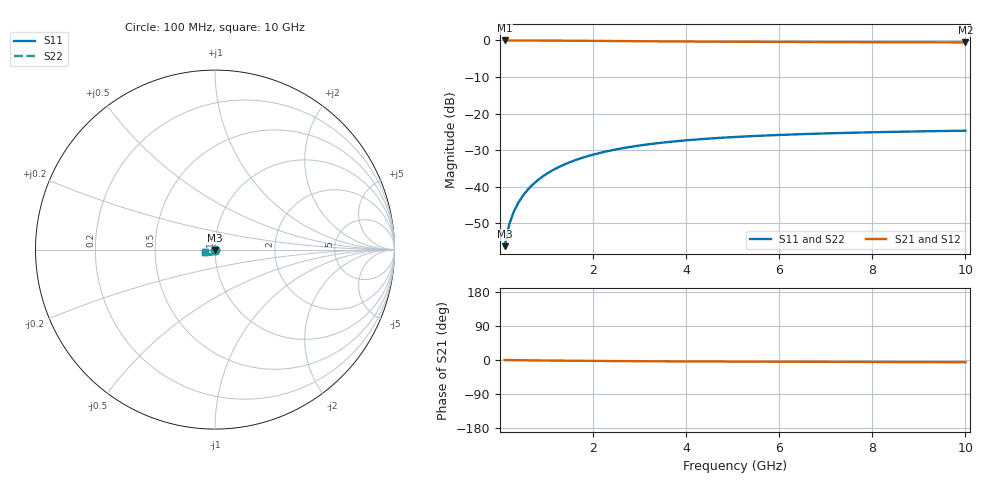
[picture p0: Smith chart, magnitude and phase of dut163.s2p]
! Touchstone file exported from HFSS 2024.1.0
!  File:  C:/UserFiles/LocalFiles/RDL_TSV_Batchsim/temp_TSV1_163_1779382542.aedt
!  Generated:  01:00:53 AM May 22, 2026
!  Design:  TSV1
!  Project:  temp_TSV1_163_1779382542
!  Setup:  Setup1
!  Solution:  Sweep
! Variables:
!  dtsv = 10.41um
!  hbump = 3um
!  htsv = 94.68um
!  lrdl = 252.1521522um
!  p = 40
!  p1 = 44.32um
!  t = 500um
!  trdl = 3um
!  wrdl = 24.89489489um
# GHz S MA R 50.000000
! Terminal data exported
! Port[1] = TSV22_T1
! Port[2] = TSV22_T2
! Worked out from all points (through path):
!   100 points, 100 MHz to 10 GHz, reference 50 ohm
!   highest |S21| = 0.00 dB at 100 MHz (marker M1); lowest = -0.5 dB at 10 GHz (marker M2)
!   lowest |S11| = -56.2 dB at 100 MHz (marker M3), VSWR 1.00, Z = 50 - j0.154 ohm
!   |S11| at or under -10 dB: start of sweep to end of sweep
!   |S22| runs from -56.2 to -24.7 dB; largest |S21 - S12| = 3e-15
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0.1  0.001543 -85.9  0.9998 -0.1  0.9998 -0.1  0.001543 -85.9
! Gamma 0 0 0 0
! Port Impedance 50 0 50 0
0.2  0.003077 -90.2  0.9997 -0.3  0.9997 -0.3  0.003077 -90.2
0.3  0.004612 -92.6  0.9994 -0.4  0.9994 -0.4  0.004612 -92.6
0.4  0.006142 -94.7  0.9991 -0.6  0.9991 -0.6  0.006142 -94.7
0.5  0.007664 -96.5  0.9987 -0.7  0.9987 -0.7  0.007664 -96.5
0.6  0.009172 -98.3  0.9982 -0.8  0.9982 -0.8  0.009172 -98.3
0.7  0.01066 -100.0  0.9977 -1.0  0.9977 -1.0  0.01066 -100.0
0.8  0.01213 -101.7  0.9971 -1.1  0.9971 -1.1  0.01213 -101.7
0.9  0.01358 -103.3  0.9964 -1.2  0.9964 -1.2  0.01358 -103.3
1.1  0.01639 -106.4  0.9949 -1.5  0.9949 -1.5  0.01639 -106.4
1.4  0.02039 -110.9  0.9923 -1.8  0.9923 -1.8  0.02039 -110.9
1.6  0.02289 -113.8  0.9904 -2.0  0.9904 -2.0  0.02289 -113.8
1.8  0.02525 -116.5  0.9884 -2.2  0.9884 -2.2  0.02525 -116.5
2.1  0.02854 -120.4  0.9853 -2.5  0.9853 -2.5  0.02854 -120.4
2.5  0.03246 -125.2  0.9812 -2.8  0.9812 -2.8  0.03246 -125.2
2.9  0.03588 -129.5  0.9771 -3.1  0.9771 -3.1  0.03588 -129.5
3.4  0.03952 -134.4  0.9724 -3.4  0.9724 -3.4  0.03952 -134.4
4.2  0.04418 -141.1  0.9656 -3.8  0.9656 -3.8  0.04418 -141.1
5.1  0.04812 -147.5  0.9595 -4.2  0.9595 -4.2  0.04812 -147.5
6.7  0.05294 -156.3  0.9513 -4.8  0.9513 -4.8  0.05294 -156.3
8.4  0.05627 -163.6  0.9455 -5.4  0.9455 -5.4  0.05627 -163.6
10  0.05846 -169.2  0.9416 -5.9  0.9416 -5.9  0.05846 -169.2
